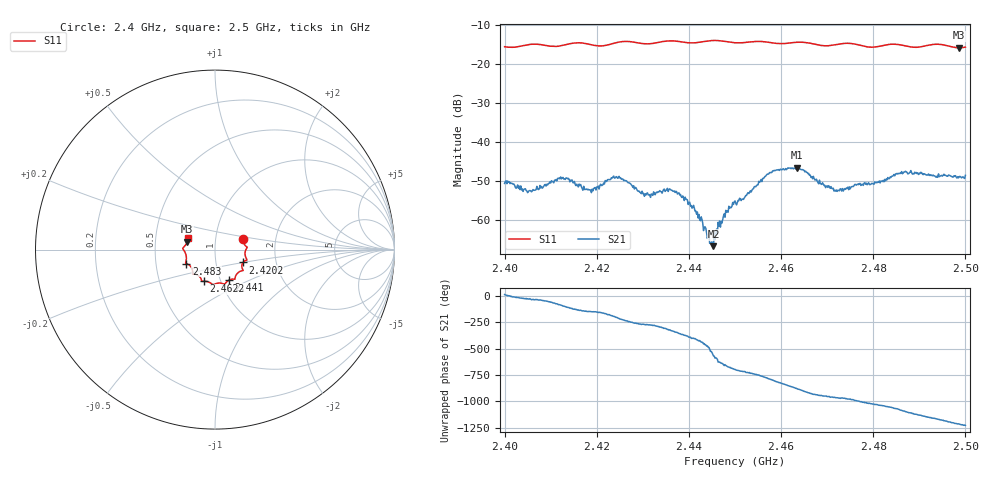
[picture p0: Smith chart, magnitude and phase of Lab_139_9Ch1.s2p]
# Hz S RI R 50
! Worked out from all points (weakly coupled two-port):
!   601 points, 2.4 GHz to 2.5 GHz, reference 50 ohm
!   highest |S21| = -46.68 dB at 2.4635 GHz (marker M1); lowest = -66.8 dB at 2.4453 GHz (marker M2)
!   lowest |S11| = -15.8 dB at 2.4987 GHz (marker M3), VSWR 1.39, Z = 36.4 + j3.32 ohm
!   |S11| at or under -10 dB: start of sweep to end of sweep
!   S12 and S22 are empty: the file has one direction only
!   S11 on the Smith chart (normalised r, x): 2.4 GHz: 1.36, +0.17; 2.4202 GHz: 1.35, -0.20; 2.441 GHz: 1.09, -0.39; 2.4622 GHz: 0.83, -0.30; 2.483 GHz: 0.72, -0.12; 2.5 GHz: 0.73, +0.09
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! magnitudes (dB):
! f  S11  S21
! 2.4 GHz  -15.5  -50.7
! 2.4055 GHz  -14.9  -52.5
! 2.4122 GHz  -15.3  -49.0
! 2.4167 GHz  -14.6  -51.6
! 2.4202 GHz  -15.3  -51.6
! 2.4247 GHz  -14.4  -49.3
! 2.4302 GHz  -14.8  -53.2
! 2.4333 GHz  -14.4  -52.9
! 2.4373 GHz  -14.1  -52.8
! 2.441 GHz  -14.6  -56.3
! 2.4453 GHz  -13.9  -66.8
! 2.4478 GHz  -14.2  -59.4
! 2.45 GHz  -14.5  -55.2
! 2.4573 GHz  -14.4  -48.2
! 2.4622 GHz  -14.5  -46.9
! 2.4635 GHz  -14.4  -46.7
! 2.4667 GHz  -14.7  -49.0
! 2.472 GHz  -15.0  -52.4
! 2.483 GHz  -15.0  -49.8
! 2.4833 GHz  -15.0  -49.5
! 2.4987 GHz  -15.8  -48.9
! 2.5 GHz  -15.6  -48.6
